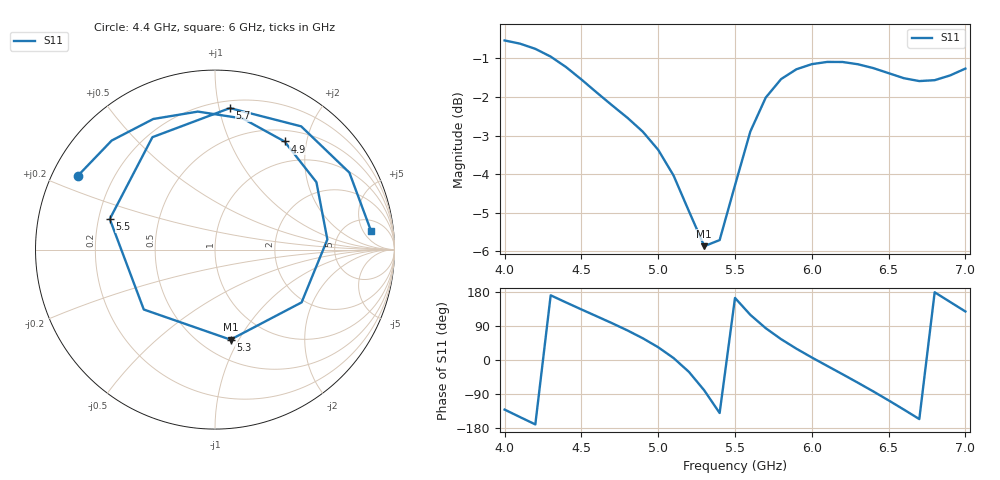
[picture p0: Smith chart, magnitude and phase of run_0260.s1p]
! Touchstone file exported from HFSS 2024.2.0
!  File:  C:/Users/wsak9/Desktop/Sim Fast/Widenad Patch/WP_AI_V1_sweep.aedt
!  Generated:  01:57:09 AM Oct 14, 2026
!  Design:  A1_model
!  Project:  WP_AI_V1_sweep
!  Setup:  Setup1
!  Solution:  Sweep
! Variables:
!  Air_gap = 4.17mm
!  Curve_Amp1 = 1.92
!  Curve_len1 = 1
!  Curve_pos = 11.32mm
!  Extra = 3.33mm
!  H_sub = 0.79mm
!  L_Patch = 18.64mm
!  L_Patch1 = 17.97mm
!  Sx = 3.72mm
!  Sy = 2.01mm
!  WS = 1.47mm
!  W_Patch = 12.03mm
!  W_Patch1 = 14.64mm
!Data is not renormalized
# GHz S MA
! Terminal data exported
! Port[1] = 1
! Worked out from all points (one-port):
!   31 points, 4 GHz to 7 GHz, reference per port
!   lowest |S11| = -5.9 dB at 5.3 GHz (marker M1), VSWR 3.07
!   |S11| at or under -10 dB: nowhere
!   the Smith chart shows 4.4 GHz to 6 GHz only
!   S11 on the Smith chart (normalised r, x): 4.4 GHz: 0.07, +0.25; 4.9 GHz: 0.66, +1.63; 5.3 GHz: 0.68, -0.92; 5.5 GHz: 0.25, +0.13; 5.7 GHz: 0.25, +1.08; 6 GHz: 9, +7
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4  0.9402 -130.9
4.1  0.9313 -150.5
4.2  0.917 -170.0
4.4  0.8685 151.9
4.6  0.8049 115.3
4.8  0.7465 78.0
4.9  0.7162 57.3
5  0.6786 33.6
5.1  0.6285 5.2
5.2  0.5651 -31.4
5.3  0.5091 -80.2
5.4  0.5185 -139.9
5.5  0.6105 163.8
5.6  0.7168 119.1
5.7  0.7928 84.0
5.8  0.8379 55.0
5.9  0.8629 29.8
6  0.8761 6.7
6.1  0.8819 -15.5
6.2  0.8818 -37.6
6.3  0.8758 -59.9
6.4  0.8659 -82.8
6.5  0.8528 -106.6
6.6  0.8401 -131.0
6.7  0.833 -155.9
6.8  0.8352 178.8
6.9  0.8471 153.3
7  0.8646 128.1
